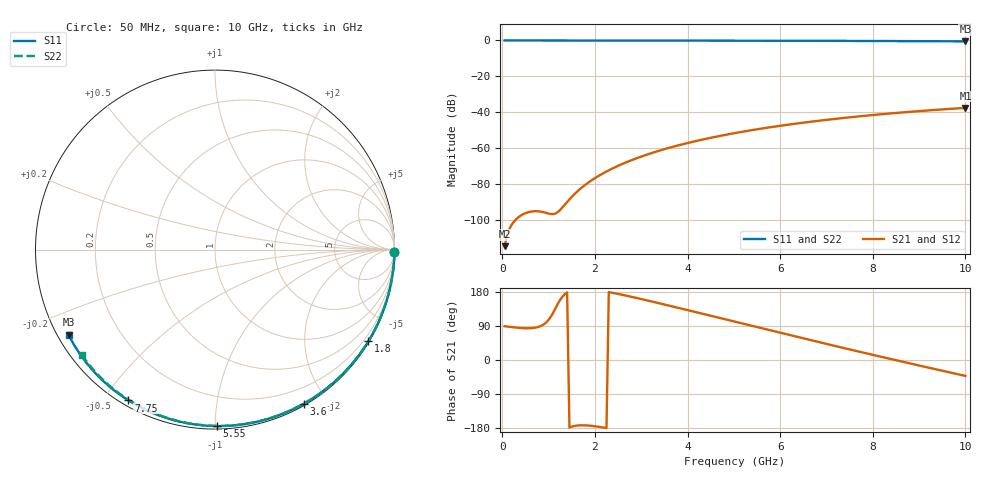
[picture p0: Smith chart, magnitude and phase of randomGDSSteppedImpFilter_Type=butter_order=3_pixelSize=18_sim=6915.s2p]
! freq	dB(S11)	phase(S11)	dB(S12)	phase(S12)
!  dB(S21)	phase(S21)	dB(S22)	phase(S22)
!S-par simulation data
#  GHz  S  DB  R 50
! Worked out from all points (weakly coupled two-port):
!   200 points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, 50 MHz to 10 GHz, reference 50 ohm
!   highest |S21| = -37.49 dB at 10 GHz (marker M1); lowest = -114.4 dB at 50 MHz (marker M2)
!   lowest |S11| = -0.5 dB at 10 GHz (marker M3), VSWR 34.64, Z = 1.55 - j13.5 ohm
!   |S11| at or under -10 dB: nowhere
!   |S22| runs from -0.5 to 0.0 dB; largest |S21 - S12| = 0
!   S11 on the Smith chart (normalised r, x): 50 MHz: open; 1.8 GHz: 0.03, -3.63; 3.6 GHz: 0.02, -1.73; 5.55 GHz: 0.02, -1.01; 7.75 GHz: 0.02, -0.58; 10 GHz: 0.03, -0.27
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0.05  -0.00 -0.9  -114.38 89.2  -114.38 89.2  -0.00 -0.8
0.45  -0.01 -7.8  -96.61 84.0  -96.61 84.0  -0.01 -7.3
0.9  -0.02 -15.6  -95.55 94.4  -95.55 94.4  -0.02 -14.6
1.3  -0.03 -22.4  -92.80 167.2  -92.80 167.2  -0.03 -21.0
1.75  -0.04 -30.0  -81.10 -172.3  -81.10 -172.3  -0.04 -28.1
1.8  -0.04 -30.8  -80.10 -172.5  -80.10 -172.5  -0.04 -28.9
2  -0.04 -34.2  -76.56 -174.8  -76.56 -174.8  -0.04 -32.0
2.15  -0.05 -36.6  -74.26 -177.5  -74.26 -177.5  -0.04 -34.4
2.5  -0.05 -42.4  -69.71 174.4  -69.71 174.4  -0.05 -39.8
2.9  -0.06 -48.9  -65.50 163.7  -65.50 163.7  -0.06 -45.9
3.4  -0.07 -56.9  -61.20 149.4  -61.20 149.4  -0.07 -53.4
3.6  -0.08 -60.0  -59.71 143.5  -59.71 143.5  -0.08 -56.4
4.3  -0.10 -70.9  -55.23 122.6  -55.23 122.6  -0.09 -66.6
5.05  -0.13 -82.1  -51.37 100.1  -51.37 100.1  -0.12 -77.3
5.55  -0.15 -89.4  -49.19 85.1  -49.19 85.1  -0.14 -84.2
6.1  -0.17 -97.2  -47.08 68.8  -47.08 68.8  -0.16 -91.6
6.7  -0.20 -105.6  -45.06 51.1  -45.06 51.1  -0.19 -99.6
7.2  -0.24 -112.4  -43.56 36.6  -43.56 36.6  -0.22 -106.1
7.75  -0.28 -119.8  -42.09 20.7  -42.09 20.7  -0.26 -113.1
8.35  -0.33 -127.9  -40.65 3.7  -40.65 3.7  -0.31 -120.8
9.2  -0.41 -139.1  -38.89 -20.1  -38.89 -20.1  -0.39 -131.5
10  -0.50 -149.8  -37.49 -42.0  -37.49 -42.0  -0.48 -141.6
